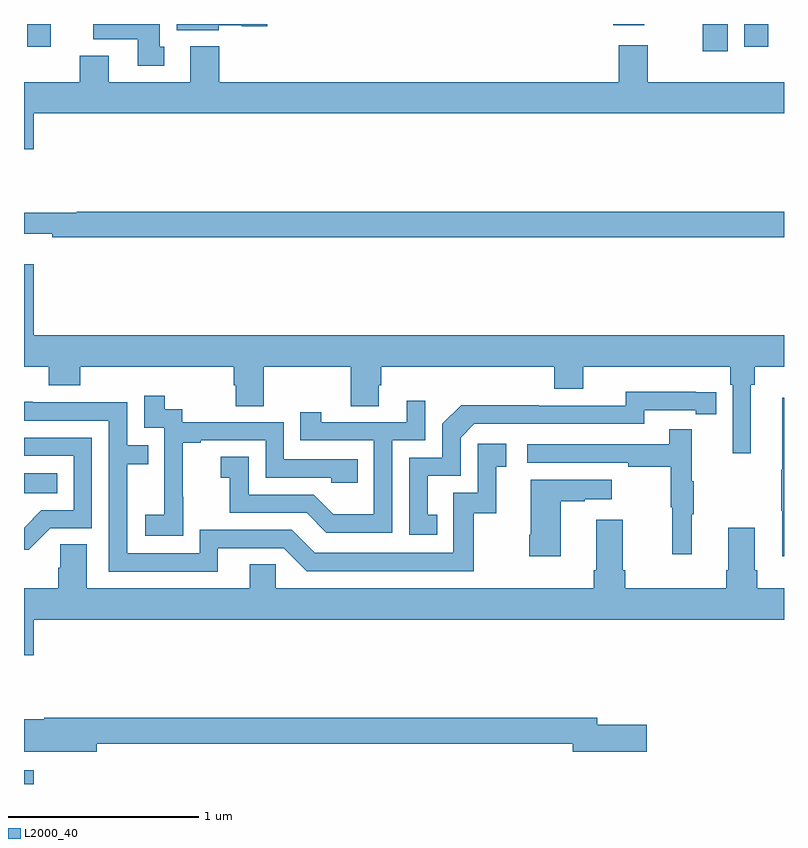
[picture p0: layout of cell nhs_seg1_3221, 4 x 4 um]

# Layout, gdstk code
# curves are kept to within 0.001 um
import gdstk
lib = gdstk.Library(unit=1e-6, precision=1e-09)
def R(c, l, rs):  # rectangles x0, y0, x1, y1
    for r in rs: c.add(gdstk.rectangle(r[:2], r[2:], *l))
def P(c, l, *ps):  # polygons
    for p in ps: c.add(gdstk.Polygon(p, *l))
L2000_40 = (2000, 40)

nhs_seg1_3221 = lib.new_cell('nhs_seg1_3221')
R(nhs_seg1_3221, L2000_40, [(285,552.199,285.052,552.271), (285,553.73,285.176,553.834), (288.572,556.056,288.703,556.199), (285.017,556.08,285.142,556.199), (288.791,556.08,288.916,556.199), (288.102,556.193,288.264,556.199)])
P(nhs_seg1_3221, L2000_40, [(285.739,556.08),(285.715,556.08),(285.715,556.199),(285.364,556.199),(285.364,556.118),(285.599,556.118),(285.599,555.978),(285.739,555.978)],
  [(286.026,556.193),(286.146,556.193),(286.146,556.186),(286.279,556.186),(286.279,556.199),(285.803,556.199),(285.803,556.166),(286.026,556.166)],
  [(285.052,555.728),(289,555.728),(289,555.892),(288.283,555.892),(288.283,556.087),(288.131,556.087),(288.131,555.892),(286.028,555.892),(286.028,556.081),(285.875,556.081),(285.875,555.892),(285.445,555.892),(285.445,556.033),(285.293,556.033),(285.293,555.892),(285,555.892),(285,555.54),(285.052,555.54)],
  [(289,555.212),(285.278,555.212),(285.278,555.205),(285,555.205),(285,555.095),(285.148,555.095),(285.148,555.076),(289,555.076)],
  [(288.826,554.3),(288.845,554.3),(288.845,554.396),(289,554.396),(289,554.56),(285.052,554.56),(285.052,554.935),(285,554.935),(285,554.396),(285.131,554.396),(285.131,554.297),(285.296,554.297),(285.296,554.396),(286.103,554.396),(286.103,554.298),(286.115,554.298),(286.115,554.188),(286.263,554.188),(286.263,554.396),(286.72,554.396),(286.72,554.188),(286.867,554.188),(286.867,554.298),(286.88,554.298),(286.88,554.396),(287.792,554.396),(287.792,554.279),(287.944,554.279),(287.944,554.396),(288.716,554.396),(288.716,554.3),(288.729,554.3),(288.729,553.941),(288.826,553.941)],
  [(287.174,553.617),(287.125,553.617),(287.125,553.821),(287.298,553.821),(287.298,554.022),(287.37,554.094),(288.264,554.094),(288.264,554.166),(288.536,554.166),(288.536,554.146),(288.644,554.146),(288.644,554.262),(288.168,554.263),(288.168,554.19),(287.708,554.19),(287.708,554.192),(287.3,554.192),(287.202,554.094),(287.202,553.917),(287.028,553.917),(287.028,553.512),(287.174,553.512)],
  [(285.837,553.711),(285.836,553.711),(285.836,553.995),(285.931,553.995),(285.931,554.007),(286.272,554.007),(286.272,553.812),(286.617,553.812),(286.617,553.785),(286.757,553.785),(286.757,553.908),(286.368,553.908),(286.368,554.103),(285.834,554.103),(285.834,554.172),(285.742,554.172),(285.742,554.242),(285.633,554.242),(285.633,554.073),(285.738,554.073),(285.738,553.844),(285.737,553.844),(285.737,553.615),(285.639,553.615),(285.639,553.505),(285.837,553.505)],
  [(289,554.233),(288.992,554.233),(288.992,553.853),(288.985,553.853),(288.985,553.636),(288.992,553.636),(288.992,553.398),(289,553.398)],
  [(286.938,554.007),(287.112,554.007),(287.112,554.215),(287.015,554.215),(287.015,554.103),(286.564,554.103),(286.564,554.155),(286.453,554.155),(286.453,554.007),(286.842,554.007),(286.842,553.618),(286.628,553.618),(286.524,553.722),(286.182,553.722),(286.182,553.921),(286.035,553.921),(286.035,553.811),(286.084,553.811),(286.084,553.626),(286.487,553.626),(286.592,553.521),(286.938,553.521)],
  [(286.021,553.44),(286.368,553.44),(286.488,553.32),(287.368,553.32),(287.368,553.623),(287.486,553.623),(287.486,553.869),(287.539,553.869),(287.539,553.99),(287.388,553.99),(287.388,553.731),(287.259,553.731),(287.259,553.416),(286.53,553.416),(286.41,553.536),(285.924,553.536),(285.924,553.413),(285.543,553.413),(285.543,553.882),(285.653,553.882),(285.653,553.983),(285.543,553.983),(285.543,554.208),(285.047,554.208),(285.047,554.21),(285,554.21),(285,554.112),(285.447,554.112),(285.447,553.317),(286.021,553.317)],
  [(288.515,553.619),(288.526,553.619),(288.526,553.793),(288.515,553.793),(288.515,554.065),(288.397,554.065),(288.397,553.986),(287.649,553.986),(287.649,553.89),(288.181,553.89),(288.181,553.87),(288.405,553.87),(288.405,553.656),(288.412,553.656),(288.412,553.407),(288.515,553.407)],
  [(285.138,553.545),(285.357,553.545),(285.357,554.022),(285,554.022),(285,553.926),(285.261,553.926),(285.261,553.641),(285.092,553.641),(285,553.549),(285,553.433),(285.025,553.433)],
  [(287.824,553.687),(287.951,553.687),(287.951,553.697),(288.094,553.697),(288.094,553.801),(287.666,553.801),(287.666,553.51),(287.659,553.51),(287.659,553.398),(287.824,553.398)],
  [(285.052,553.064),(289,553.064),(289,553.228),(288.86,553.228),(288.86,553.324),(288.847,553.324),(288.847,553.549),(288.707,553.549),(288.707,553.324),(288.695,553.324),(288.695,553.228),(288.164,553.228),(288.164,553.324),(288.151,553.324),(288.151,553.591),(288.011,553.591),(288.011,553.324),(287.999,553.324),(287.999,553.228),(286.326,553.228),(286.326,553.355),(286.187,553.355),(286.187,553.228),(285.331,553.228),(285.331,553.46),(285.192,553.46),(285.192,553.337),(285.179,553.337),(285.179,553.228),(285,553.228),(285,552.876),(285.052,552.876)],
  [(285.382,552.412),(287.888,552.412),(287.888,552.37),(288.277,552.37),(288.277,552.512),(288.016,552.512),(288.016,552.548),(285.106,552.548),(285.106,552.541),(285,552.541),(285,552.431),(285.002,552.431),(285.002,552.37),(285.382,552.37)])

lib.write_gds('nhs_seg1_3221.gds')
